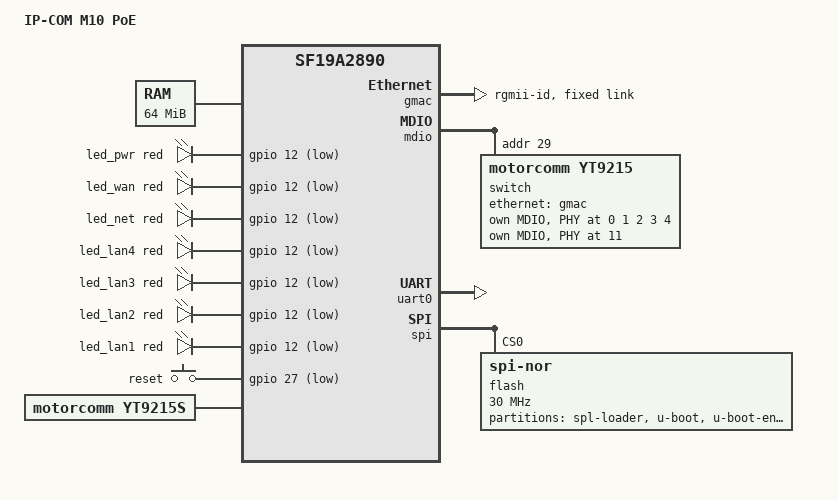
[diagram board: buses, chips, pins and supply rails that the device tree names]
/dts-v1/;
#include <dt-bindings/input/input.h>
#include <dt-bindings/leds/common.h>
#include "sf19a2890.dtsi"

/ {
	model = "IP-COM M10 PoE";
	compatible = "ipcom,m10-poe", "siflower,sf19a2890";

	aliases {
		led-boot = &led_pwr;
		led-failsafe = &led_pwr;
		led-running = &led_pwr;
		led-upgrade = &led_pwr;
	};

	chosen {
		stdout-path = "serial0:115200n8";
	};

	memory@0 {
		device_type = "memory";
		reg = <0x0 0x4000000>;	// 64MB
	};

	leds {
		compatible = "gpio-leds";

		led_pwr: pwr {
			function = LED_FUNCTION_WLAN;
			color = <LED_COLOR_ID_RED>;
			gpios = <&gpio 12 GPIO_ACTIVE_LOW>;
		};

		led_wan: wan {
			function = LED_FUNCTION_WLAN;
			color = <LED_COLOR_ID_RED>;
			gpios = <&gpio 12 GPIO_ACTIVE_LOW>;
		};

		led_net: net {
			function = LED_FUNCTION_WLAN;
			color = <LED_COLOR_ID_RED>;
			gpios = <&gpio 12 GPIO_ACTIVE_LOW>;
		};

		led_lan4: lan4 {
			function = LED_FUNCTION_WLAN;
			color = <LED_COLOR_ID_RED>;
			gpios = <&gpio 12 GPIO_ACTIVE_LOW>;
		};

		led_lan3: lan3 {
			function = LED_FUNCTION_WLAN;
			color = <LED_COLOR_ID_RED>;
			gpios = <&gpio 12 GPIO_ACTIVE_LOW>;
		};

		led_lan2: lan2 {
			function = LED_FUNCTION_WLAN;
			color = <LED_COLOR_ID_RED>;
			gpios = <&gpio 12 GPIO_ACTIVE_LOW>;
		};

		led_lan1: lan1 {
			function = LED_FUNCTION_WLAN;
			color = <LED_COLOR_ID_RED>;
			gpios = <&gpio 12 GPIO_ACTIVE_LOW>;
		};
	};

	keys {
		compatible = "gpio-keys";

		reset {
			label = "reset";
			gpios = <&gpio 27 GPIO_ACTIVE_LOW>;
			linux,code = <KEY_RESTART>;
		};
	};

	yt9215s {
		compatible = "motorcomm,yt9215s";
		mii-bus = <&mdio>;
		phy-id = <0>;
	};
};

&gmac {
	status = "okay";
	phy-mode = "rgmii-id";
	snps,ps-speed = <1000>;
	nvmem-cells = <&macaddr_factory_0>, <&rgmii_delay_factory_b2>;
	nvmem-cell-names = "mac-address", "rgmii-delay";
	fixed-link {
		speed = <1000>;
		full-duplex;
		pause;
	};
};

&mdio {
	#address-cells = <1>;
	#size-cells = <0>;

	switch@1d {
		compatible = "motorcomm,yt9215";
		reg = <0x1d>;
		switchid = <0>;
		/*reset-gpios = <&gpio 39 GPIO_ACTIVE_LOW>;*/

		mdio {
			#address-cells = <1>;
			#size-cells = <0>;

			// MAC0 -> Phy0 -> LAN1
			sw_phy0: phy@0 {
				reg = <0x0>;
			};

			// MAC1 -> Phy1 -> LAN2/WAN4
			sw_phy1: phy@1 {
				reg = <0x1>;
			};

			// MAC2 -> Phy2 -> LAN3/WAN3
			sw_phy2: phy@2 {
				reg = <0x2>;
			};

			// MAC3 -> Phy3 -> LAN4/WAN2
			sw_phy3: phy@3 {
				reg = <0x3>;
			};

			// MAC4 -> Phy4 -> WAN1
			sw_phy4: phy@4 {
				reg = <0x4>;
			};
		};

		mdio-external {
			#address-cells = <1>;
			#size-cells = <0>;

			phy1: phy@b {
				reg = <0xb>;
			};
		};

		ethernet-ports {
			#address-cells = <1>;
			#size-cells = <0>;

			ethernet-port@0 {
				reg = <0>;
				label = "lan1";
				phy-mode = "internal";
				phy-handle = <&sw_phy0>;
			};

			ethernet-port@1 {
				reg = <1>;
				label = "lan2";
				phy-mode = "internal";
				phy-handle = <&sw_phy1>;
			};

			ethernet-port@2 {
				reg = <2>;
				label = "lan3";
				phy-mode = "internal";
				phy-handle = <&sw_phy2>;
			};

			ethernet-port@3 {
				reg = <3>;
				label = "lan4";
				phy-mode = "internal";
				phy-handle = <&sw_phy3>;
			};

			ethernet-port@4 {
				reg = <4>;
				label = "lan5";
				phy-mode = "internal";
				phy-handle = <&sw_phy4>;
			};

			/* CPU port */
			ethernet-port@8 {
				reg = <8>;
				phy-mode = "rgmii";
				ethernet = <&gmac>;

				fixed-link {
					speed = <1000>;
					full-duplex;
				};
			};

			/* if external phy is connected to a MAC */
			ethernet-port@9 {
				reg = <9>;
				label = "wan";
				phy-mode = "rgmii-id";
				phy-handle = <&phy1>;
			};
		};
	};
};

&uart0 {
	status = "okay";
};

&spi {
	status = "okay";
	flash@0 {
		compatible = "jedec,spi-nor";
		reg = <0>;
		spi-max-frequency = <30000000>;

		partitions {
			compatible = "fixed-partitions";
			#address-cells = <1>;
			#size-cells = <1>;

			partition@0 {
				label = "spl-loader";
				reg = <0x0 0x8000>; /* 32k */
				read-only;
			};

			partition@8000 {
				label = "u-boot";
				reg = <0x8000 0x50000>; /* 320k */
			};

			partition@58000 {
				label = "u-boot-env";
				reg = <0x58000 0x2000>; /* 8k */
			};

			factory:partition@60000 {
				label = "factory";
				reg = <0x60000 0x10000>; /* 64k */

				nvmem-layout {
					compatible = "fixed-layout";
					#address-cells = <1>;
					#size-cells = <1>;

					macaddr_factory_0: macaddr@0 {
						reg = <0x0 0x6>;
					};

					rgmii_delay_factory_b2: rgmii-delay@b2 {
						reg = <0xb2 0x4>;
					};
				};
			};

			partition@70000 {
				compatible = "denx,uimage";
				label = "firmware";
				reg = <0x70000 0x0>; /* 448k- */
			};
		};
	};
};
